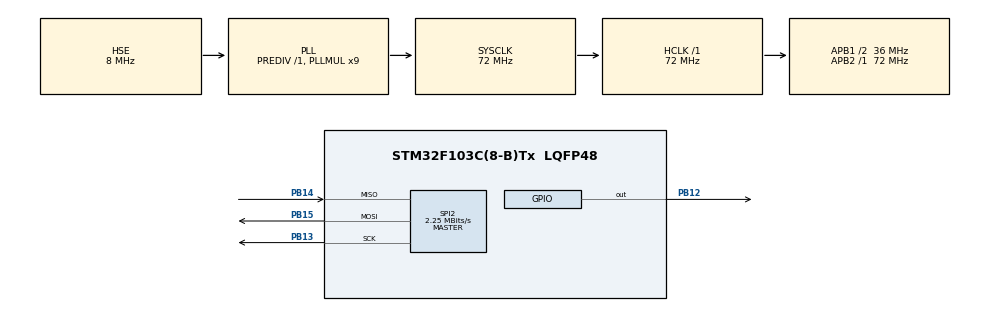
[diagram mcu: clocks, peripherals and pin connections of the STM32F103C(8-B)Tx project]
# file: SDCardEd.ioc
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Mcu.Family=STM32F1
Mcu.Name=STM32F103C(8-B)Tx
Mcu.Package=LQFP48
NVIC.PriorityGroup=NVIC_PRIORITYGROUP_4
PA13.Mode=Serial_Wire
PA13.Signal=SYS_JTMS-SWDIO
PA14.Mode=Serial_Wire
PA14.Signal=SYS_JTCK-SWCLK
PB12.GPIO_PuPd=GPIO_PULLUP
PB12.GPIO_Speed=GPIO_SPEED_FREQ_HIGH
PB12.PinState=GPIO_PIN_SET
PB12.Signal=GPIO_Output
PB13.Mode=Full_Duplex_Master
PB13.Signal=SPI2_SCK
PB14.Mode=Full_Duplex_Master
PB14.Signal=SPI2_MISO
PB15.Mode=Full_Duplex_Master
PB15.Signal=SPI2_MOSI
PD0-OSC_IN.Mode=HSE-External-Oscillator
PD0-OSC_IN.Signal=RCC_OSC_IN
PD1-OSC_OUT.Mode=HSE-External-Oscillator
PD1-OSC_OUT.Signal=RCC_OSC_OUT
ProjectManager.HeapSize=0x200
ProjectManager.StackSize=0x400
ProjectManager.TargetToolchain=Makefile
RCC.AHBFreq_Value=72000000
RCC.APB1CLKDivider=RCC_HCLK_DIV2
RCC.APB1Freq_Value=36000000
RCC.APB1TimFreq_Value=72000000
RCC.APB2Freq_Value=72000000
RCC.APB2TimFreq_Value=72000000
RCC.HCLKFreq_Value=72000000
RCC.PLLMUL=RCC_PLL_MUL9
RCC.PLLSourceVirtual=RCC_PLLSOURCE_HSE
RCC.SYSCLKFreq_VALUE=72000000
RCC.SYSCLKSource=RCC_SYSCLKSOURCE_PLLCLK
RCC.USBFreq_Value=72000000
SPI2.BaudRatePrescaler=SPI_BAUDRATEPRESCALER_16
SPI2.CLKPhase=SPI_PHASE_1EDGE
SPI2.CLKPolarity=SPI_POLARITY_LOW
SPI2.CRCCalculation=SPI_CRCCALCULATION_DISABLE
SPI2.CalculateBaudRate=2.25 MBits/s
SPI2.Direction=SPI_DIRECTION_2LINES
SPI2.Mode=SPI_MODE_MASTER
SPI2.VirtualType=VM_MASTER
board=custom

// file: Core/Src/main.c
/* USER CODE BEGIN Header */
/**
  ******************************************************************************
  * @file           : main.c
  * @brief          : Main program body
  ******************************************************************************
  * @attention
  *
  * Copyright (c) 2023 STMicroelectronics.
  * All rights reserved.
  *
  * This software is licensed under terms that can be found in the LICENSE file
  * in the root directory of this software component.
  * If no LICENSE file comes with this software, it is provided AS-IS.
  *
  ******************************************************************************
  */
/* USER CODE END Header */
#include "main.h"

/* USER CODE BEGIN Includes */
#include <string.h>
#include "sd_driver_init.h"
#include "sd_driver_read.h"
#include "sd_driver_write.h"
#include "sd_driver_erase.h"
/* USER CODE END Includes */

SPI_HandleTypeDef hspi2;

void SystemClock_Config(void);
static void MX_GPIO_Init(void);
static void MX_SPI2_Init(void);
/* USER CODE BEGIN PFP */
// HAL_StatusTypeDef receive_byte(uint8_t* data);
// HAL_StatusTypeDef receive_bytes(uint8_t* data, const uint8_t size);
// HAL_StatusTypeDef transmit_bytes(const uint8_t* data, const uint8_t size);
// void fast_boot(void);
// HAL_StatusTypeDef wait_sd_response(uint8_t* data);
/* USER CODE END PFP */

int main(void)
{

  /* MCU Configuration--------------------------------------------------------*/

  /* Reset of all peripherals, Initializes the Flash interface and the Systick. */
  HAL_Init();

  /* Configure the system clock */
  SystemClock_Config();

  /* Initialize all configured peripherals */
  MX_GPIO_Init();
  MX_SPI2_Init();

  /* Infinite loop */
  /* USER CODE BEGIN WHILE */
  static uint8_t data[1024];

  sd_error status = sd_card_reset(&hspi2, false);
  if (status)
    Error_Handler();

  sd_info info = { 0 };
  status |= sd_card_get_common_info(&hspi2, &info);

  data[0] = 0x55;
  data[1023] = 0xff;
  data[2] = 0xaa;
  status |= sd_card_write_multiple_data(&hspi2, 0, data, 512, 2);

  status |= sd_card_read_multiple_data(&hspi2, 0, data, 512, 2);

  // Erase first sector
  status |= sd_card_set_erasable_area(&hspi2, 0, 512);
  status |= sd_card_erase(&hspi2);

  status |= sd_card_read_multiple_data(&hspi2, 0, data, 512, 2);

  // Check status and data
  if (status || !((data[0] == data[1]) && (data[1023] == 0xff)))
    Error_Handler();

  while (1)
  {
    /* USER CODE END WHILE */

  }
}

void SystemClock_Config(void)
{
  RCC_OscInitTypeDef RCC_OscInitStruct = {0};
  RCC_ClkInitTypeDef RCC_ClkInitStruct = {0};

  /** Initializes the RCC Oscillators according to the specified parameters
  * in the RCC_OscInitTypeDef structure.
  */
  RCC_OscInitStruct.OscillatorType = RCC_OSCILLATORTYPE_HSE;
  RCC_OscInitStruct.HSEState = RCC_HSE_ON;
  RCC_OscInitStruct.HSEPredivValue = RCC_HSE_PREDIV_DIV1;
  RCC_OscInitStruct.HSIState = RCC_HSI_ON;
  RCC_OscInitStruct.PLL.PLLState = RCC_PLL_ON;
  RCC_OscInitStruct.PLL.PLLSource = RCC_PLLSOURCE_HSE;
  RCC_OscInitStruct.PLL.PLLMUL = RCC_PLL_MUL9;
  if (HAL_RCC_OscConfig(&RCC_OscInitStruct) != HAL_OK)
  {
    Error_Handler();
  }

  /** Initializes the CPU, AHB and APB buses clocks
  */
  RCC_ClkInitStruct.ClockType = RCC_CLOCKTYPE_HCLK|RCC_CLOCKTYPE_SYSCLK
                              |RCC_CLOCKTYPE_PCLK1|RCC_CLOCKTYPE_PCLK2;
  RCC_ClkInitStruct.SYSCLKSource = RCC_SYSCLKSOURCE_PLLCLK;
  RCC_ClkInitStruct.AHBCLKDivider = RCC_SYSCLK_DIV1;
  RCC_ClkInitStruct.APB1CLKDivider = RCC_HCLK_DIV2;
  RCC_ClkInitStruct.APB2CLKDivider = RCC_HCLK_DIV1;

  if (HAL_RCC_ClockConfig(&RCC_ClkInitStruct, FLASH_LATENCY_2) != HAL_OK)
  {
    Error_Handler();
  }
}

static void MX_SPI2_Init(void)
{

  /* SPI2 parameter configuration*/
  hspi2.Instance = SPI2;
  hspi2.Init.Mode = SPI_MODE_MASTER;
  hspi2.Init.Direction = SPI_DIRECTION_2LINES;
  hspi2.Init.DataSize = SPI_DATASIZE_8BIT;
  hspi2.Init.CLKPolarity = SPI_POLARITY_LOW;
  hspi2.Init.CLKPhase = SPI_PHASE_1EDGE;
  hspi2.Init.NSS = SPI_NSS_SOFT;
  hspi2.Init.BaudRatePrescaler = SPI_BAUDRATEPRESCALER_16;
  hspi2.Init.FirstBit = SPI_FIRSTBIT_MSB;
  hspi2.Init.TIMode = SPI_TIMODE_DISABLE;
  hspi2.Init.CRCCalculation = SPI_CRCCALCULATION_DISABLE;
  hspi2.Init.CRCPolynomial = 10;
  if (HAL_SPI_Init(&hspi2) != HAL_OK)
  {
    Error_Handler();
  }

}

static void MX_GPIO_Init(void)
{
  GPIO_InitTypeDef GPIO_InitStruct = {0};

  /* GPIO Ports Clock Enable */
  __HAL_RCC_GPIOD_CLK_ENABLE();
  __HAL_RCC_GPIOB_CLK_ENABLE();
  __HAL_RCC_GPIOA_CLK_ENABLE();

  /*Configure GPIO pin Output Level */
  HAL_GPIO_WritePin(GPIOB, GPIO_PIN_12, GPIO_PIN_SET);

  /*Configure GPIO pin : PB12 */
  GPIO_InitStruct.Pin = GPIO_PIN_12;
  GPIO_InitStruct.Mode = GPIO_MODE_OUTPUT_PP;
  GPIO_InitStruct.Pull = GPIO_PULLUP;
  GPIO_InitStruct.Speed = GPIO_SPEED_FREQ_LOW;
  HAL_GPIO_Init(GPIOB, &GPIO_InitStruct);

}

void Error_Handler(void)
{
  __disable_irq();
  while (1)
  {
  }
}
